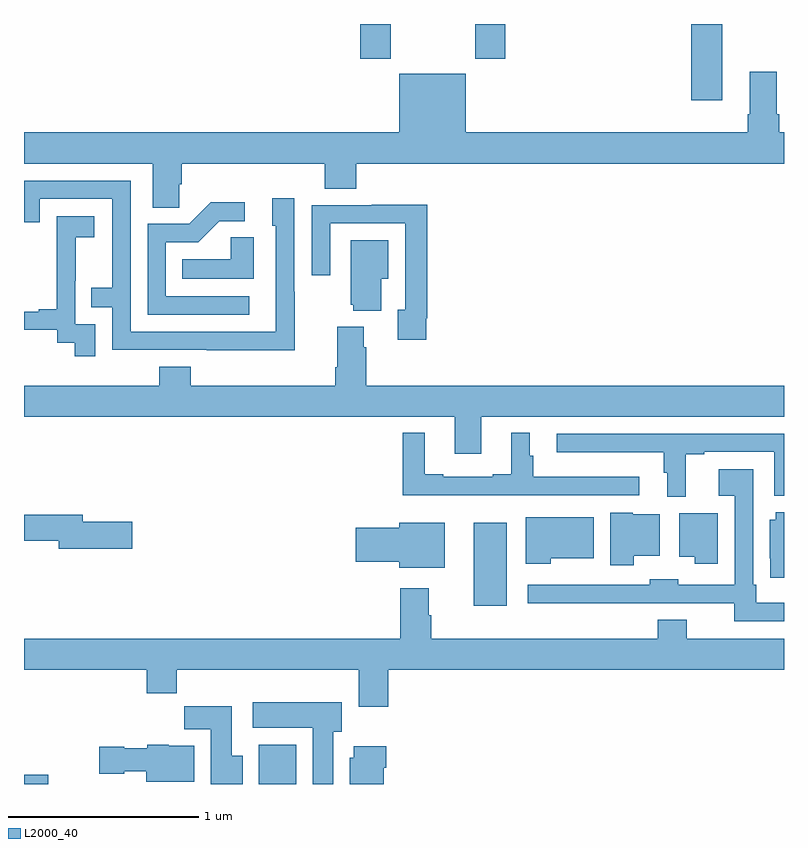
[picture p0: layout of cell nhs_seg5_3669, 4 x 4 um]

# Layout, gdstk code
import gdstk
lib = gdstk.Library(unit=1e-6, precision=1e-09)
def R(c, l, rs):  # rectangles x0, y0, x1, y1
    for r in rs: c.add(gdstk.rectangle(r[:2], r[2:], *l))
def P(c, l, *ps):  # polygons
    for p in ps: c.add(gdstk.Polygon(p, *l))
L2000_40 = (2000, 40)

nhs_seg5_3669 = lib.new_cell('nhs_seg5_3669')
R(nhs_seg5_3669, L2000_40, [(327,882.799,327.127,882.848), (328.235,882.799,328.432,883.006), (329.366,883.736,329.542,884.173), (330.512,886.398,330.676,886.799), (328.769,886.617,328.929,886.799), (329.374,886.617,329.534,886.799)])
P(nhs_seg5_3669, L2000_40, [(327.816,885.955),(327.83,885.955),(327.83,886.064),(328.583,886.064),(328.583,885.931),(328.748,885.931),(328.748,886.064),(331,886.064),(331,886.228),(330.974,886.228),(330.974,886.324),(330.961,886.324),(330.961,886.549),(330.821,886.549),(330.821,886.324),(330.809,886.324),(330.809,886.228),(329.326,886.228),(329.326,886.537),(328.976,886.537),(328.976,886.228),(327,886.228),(327,886.064),(327.677,886.064),(327.677,885.832),(327.816,885.832)],
  [(328.425,885.389),(328.422,885.389),(328.422,885.883),(328.307,885.883),(328.307,885.738),(328.326,885.738),(328.326,885.18),(327.561,885.18),(327.561,885.975),(327,885.975),(327,885.756),(327.084,885.756),(327.084,885.879),(327.465,885.879),(327.465,885.41),(327.355,885.41),(327.355,885.309),(327.465,885.309),(327.465,885.084),(327.961,885.084),(327.961,885.083),(328.425,885.083)],
  [(328.186,885.366),(327.747,885.366),(327.747,885.651),(327.916,885.651),(328.027,885.762),(328.162,885.762),(328.162,885.86),(327.983,885.86),(327.87,885.747),(327.651,885.747),(327.651,885.27),(328.186,885.27)],
  [(329.116,885.25),(329.123,885.25),(329.123,885.848),(328.831,885.848),(328.831,885.846),(328.515,885.846),(328.515,885.477),(328.611,885.477),(328.611,885.75),(329.007,885.75),(329.007,885.294),(328.967,885.294),(328.967,885.138),(329.116,885.138)],
  [(327.375,885.219),(327.27,885.219),(327.27,885.449),(327.272,885.449),(327.272,885.677),(327.37,885.677),(327.37,885.787),(327.172,885.787),(327.172,885.581),(327.173,885.581),(327.173,885.298),(327.077,885.298),(327.077,885.285),(327,885.285),(327,885.189),(327.174,885.189),(327.174,885.121),(327.267,885.121),(327.267,885.051),(327.375,885.051)],
  [(328.21,885.677),(328.089,885.677),(328.089,885.562),(327.832,885.562),(327.832,885.458),(328.21,885.458)],
  [(328.879,885.458),(328.918,885.458),(328.918,885.661),(328.721,885.661),(328.721,885.321),(328.733,885.321),(328.733,885.29),(328.879,885.29)],
  [(329.407,884.732),(331,884.732),(331,884.896),(328.802,884.896),(328.802,885.098),(328.789,885.098),(328.789,885.205),(328.649,885.205),(328.649,884.992),(328.637,884.992),(328.637,884.896),(327.878,884.896),(327.878,884.995),(327.713,884.995),(327.713,884.896),(327,884.896),(327,884.732),(329.267,884.732),(329.267,884.538),(329.407,884.538)],
  [(329.538,884.319),(330.238,884.319),(330.238,884.416),(329.681,884.416),(329.681,884.526),(329.662,884.526),(329.662,884.647),(329.564,884.647),(329.564,884.428),(329.468,884.428),(329.468,884.415),(329.206,884.415),(329.206,884.428),(329.11,884.428),(329.11,884.647),(328.993,884.647),(328.993,884.318),(329.538,884.318)],
  [(330.484,884.535),(330.58,884.535),(330.58,884.547),(330.948,884.547),(330.948,884.315),(331,884.315),(331,884.643),(329.805,884.643),(329.805,884.546),(330.367,884.546),(330.367,884.436),(330.386,884.436),(330.386,884.31),(330.484,884.31)],
  [(331,883.753),(330.854,883.753),(330.854,883.849),(330.837,883.849),(330.837,884.455),(330.657,884.455),(330.657,884.315),(330.741,884.315),(330.741,883.848),(330.444,883.848),(330.444,883.876),(330.294,883.876),(330.294,883.848),(329.99,883.848),(329.99,883.849),(329.652,883.849),(329.652,883.751),(330.739,883.751),(330.739,883.656),(331,883.656)],
  [(331,884.23),(330.956,884.23),(330.956,884.191),(330.926,884.191),(330.926,883.987),(330.927,883.987),(330.927,883.884),(331,883.884)],
  [(330.208,884),(330.346,884),(330.346,884.218),(330.204,884.218),(330.204,884.227),(330.086,884.227),(330.086,883.95),(330.208,883.95)],
  [(330.652,884.224),(330.449,884.224),(330.449,883.994),(330.53,883.994),(330.53,883.958),(330.652,883.958)],
  [(327.571,884.18),(327.31,884.18),(327.31,884.216),(327,884.216),(327,884.08),(327.182,884.08),(327.182,884.038),(327.571,884.038)],
  [(329.772,883.988),(329.998,883.988),(329.998,884.203),(329.642,884.203),(329.642,883.958),(329.772,883.958)],
  [(329.215,884.173),(328.976,884.173),(328.976,884.147),(328.746,884.147),(328.746,883.969),(328.976,883.969),(328.976,883.937),(329.215,883.937)],
  [(328.916,883.4),(331,883.4),(331,883.564),(330.487,883.564),(330.487,883.663),(330.335,883.663),(330.335,883.564),(329.144,883.564),(329.144,883.688),(329.131,883.688),(329.131,883.828),(328.979,883.828),(328.979,883.564),(327,883.564),(327,883.4),(327.647,883.4),(327.647,883.276),(327.803,883.276),(327.803,883.4),(328.763,883.4),(328.763,883.206),(328.916,883.206)],
  [(328.627,883.074),(328.672,883.074),(328.672,883.228),(328.203,883.228),(328.203,883.094),(328.52,883.094),(328.52,882.799),(328.627,882.799)],
  [(328.15,882.948),(328.093,882.948),(328.093,883.207),(327.844,883.207),(327.844,883.088),(327.983,883.088),(327.983,882.799),(328.15,882.799)],
  [(327.895,883),(327.762,883),(327.762,883.006),(327.648,883.006),(327.648,882.988),(327.528,882.988),(327.528,882.996),(327.396,882.996),(327.396,882.854),(327.528,882.854),(327.528,882.866),(327.644,882.866),(327.644,882.812),(327.895,882.812)],
  [(328.894,882.884),(328.907,882.884),(328.907,882.997),(328.736,882.997),(328.736,882.936),(328.715,882.936),(328.715,882.799),(328.894,882.799)])

lib.write_gds('nhs_seg5_3669.gds')
